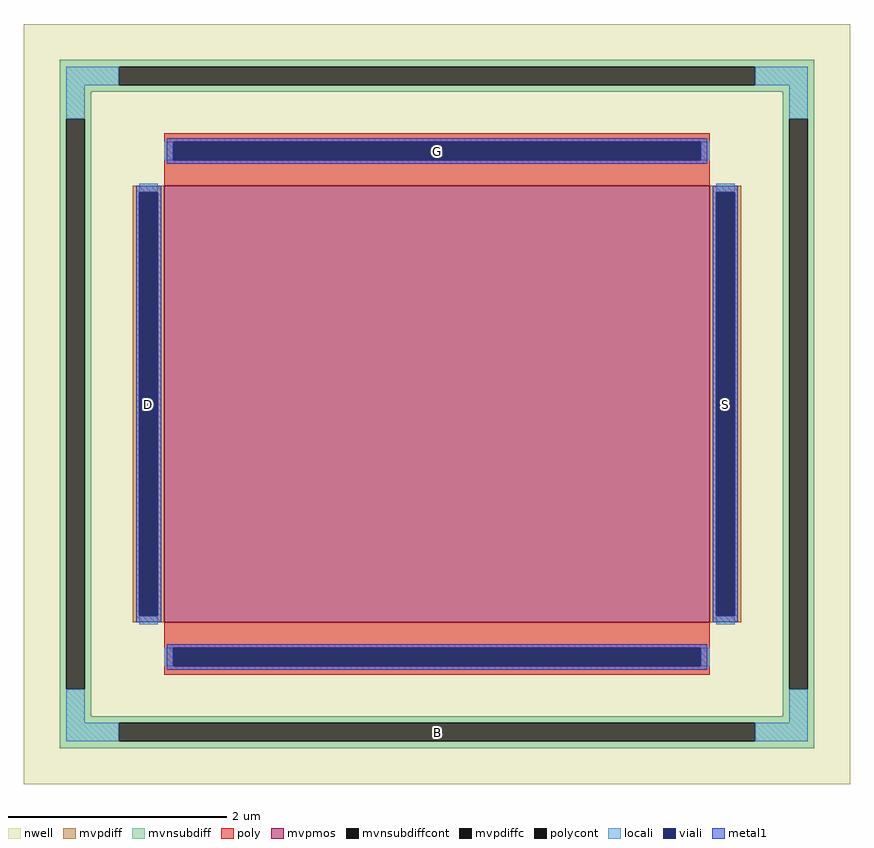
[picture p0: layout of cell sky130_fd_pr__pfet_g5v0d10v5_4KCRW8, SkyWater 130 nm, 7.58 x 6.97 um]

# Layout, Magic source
magic
tech sky130A
magscale 1 2
<< nwell >>
rect -758 -697 758 697
<< mvpmos >>
rect -500 -400 500 400
<< mvpdiff >>
rect -558 388 -500 400
rect -558 -388 -546 388
rect -512 -388 -500 388
rect -558 -400 -500 -388
rect 500 388 558 400
rect 500 -388 512 388
rect 546 -388 558 388
rect 500 -400 558 -388
<< mvpdiffc >>
rect -546 -388 -512 388
rect 512 -388 546 388
<< mvnsubdiff >>
rect -692 619 692 631
rect -692 585 -584 619
rect 584 585 692 619
rect -692 573 692 585
rect -692 523 -634 573
rect -692 -523 -680 523
rect -646 -523 -634 523
rect 634 523 692 573
rect -692 -573 -634 -523
rect 634 -523 646 523
rect 680 -523 692 523
rect 634 -573 692 -523
rect -692 -585 692 -573
rect -692 -619 -584 -585
rect 584 -619 692 -585
rect -692 -631 692 -619
<< mvnsubdiffcont >>
rect -584 585 584 619
rect -680 -523 -646 523
rect 646 -523 680 523
rect -584 -619 584 -585
<< poly >>
rect -500 481 500 497
rect -500 447 -484 481
rect 484 447 500 481
rect -500 400 500 447
rect -500 -447 500 -400
rect -500 -481 -484 -447
rect 484 -481 500 -447
rect -500 -497 500 -481
<< polycont >>
rect -484 447 484 481
rect -484 -481 484 -447
<< locali >>
rect -680 585 -584 619
rect 584 585 680 619
rect -680 523 -646 585
rect 646 523 680 585
rect -500 447 -484 481
rect 484 447 500 481
rect -546 388 -512 404
rect -546 -404 -512 -388
rect 512 388 546 404
rect 512 -404 546 -388
rect -500 -481 -484 -447
rect 484 -481 500 -447
rect -680 -585 -646 -523
rect 646 -585 680 -523
rect -680 -619 -584 -585
rect 584 -619 680 -585
<< viali >>
rect -484 447 484 481
rect -546 -388 -512 388
rect 512 -388 546 388
rect -484 -481 484 -447
<< metal1 >>
rect -496 481 496 487
rect -496 447 -484 481
rect 484 447 496 481
rect -496 441 496 447
rect -552 388 -506 400
rect -552 -388 -546 388
rect -512 -388 -506 388
rect -552 -400 -506 -388
rect 506 388 552 400
rect 506 -388 512 388
rect 546 -388 552 388
rect 506 -400 552 -388
rect -496 -447 496 -441
rect -496 -481 -484 -447
rect 484 -481 496 -447
rect -496 -487 496 -481
<< labels >>
rlabel mvnsubdiffcont 0 -602 0 -602 0 B
port 5 nsew
rlabel mvpdiffc -529 0 -529 0 0 D
port 6 nsew
rlabel mvpdiffc 529 0 529 0 0 S
port 7 nsew
rlabel polycont 0 464 0 464 0 G
port 8 nsew
<< properties >>
string FIXED_BBOX -663 -602 663 602
string gencell sky130_fd_pr__pfet_g5v0d10v5
string library sky130
string parameters w 4 l 5 m 1 nf 1 diffcov 100 polycov 100 guard 1 glc 1 grc 1 gtc 1 gbc 1 tbcov 100 rlcov 100 topc 1 botc 1 poverlap 0 doverlap 1 lmin 0.50 wmin 0.42 class mosfet compatible {sky130_fd_pr__pfet_01v8  sky130_fd_pr__pfet_01v8_lvt sky130_fd_pr__pfet_01v8_hvt  sky130_fd_pr__pfet_g5v0d10v5} full_metal 1 conn_gates 0 viasrc 100 viadrn 100 viagate 100 viagb 0 viagr 0 viagl 0 viagt 0 doports 1
<< end >>
